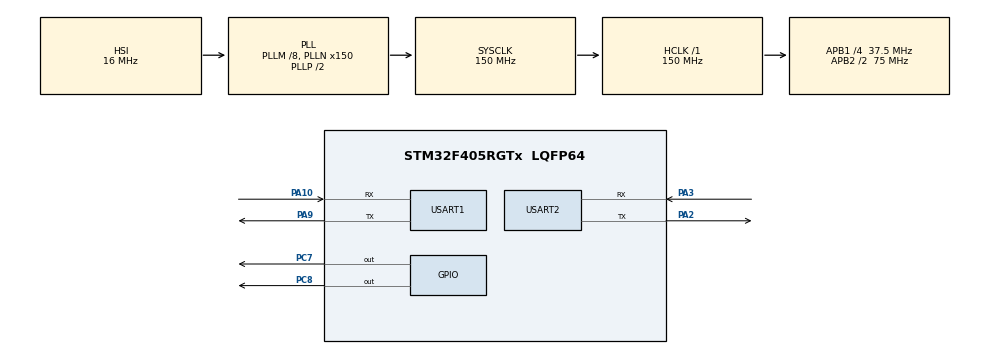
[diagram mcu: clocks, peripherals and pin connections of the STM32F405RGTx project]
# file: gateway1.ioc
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Dma.Request0=USART2_RX
Dma.Request1=USART2_TX
Dma.Request2=USART1_RX
Dma.Request3=USART1_TX
Dma.USART1_RX.2.Direction=DMA_PERIPH_TO_MEMORY
Dma.USART1_RX.2.FIFOMode=DMA_FIFOMODE_DISABLE
Dma.USART1_RX.2.Instance=DMA2_Stream2
Dma.USART1_RX.2.MemDataAlignment=DMA_MDATAALIGN_BYTE
Dma.USART1_RX.2.MemInc=DMA_MINC_ENABLE
Dma.USART1_RX.2.Mode=DMA_CIRCULAR
Dma.USART1_RX.2.PeriphDataAlignment=DMA_PDATAALIGN_BYTE
Dma.USART1_RX.2.PeriphInc=DMA_PINC_DISABLE
Dma.USART1_RX.2.Priority=DMA_PRIORITY_LOW
Dma.USART1_TX.3.Direction=DMA_MEMORY_TO_PERIPH
Dma.USART1_TX.3.FIFOMode=DMA_FIFOMODE_DISABLE
Dma.USART1_TX.3.Instance=DMA2_Stream7
Dma.USART1_TX.3.MemDataAlignment=DMA_MDATAALIGN_BYTE
Dma.USART1_TX.3.MemInc=DMA_MINC_ENABLE
Dma.USART1_TX.3.Mode=DMA_NORMAL
Dma.USART1_TX.3.PeriphDataAlignment=DMA_PDATAALIGN_BYTE
Dma.USART1_TX.3.PeriphInc=DMA_PINC_DISABLE
Dma.USART1_TX.3.Priority=DMA_PRIORITY_LOW
Dma.USART2_RX.0.Direction=DMA_PERIPH_TO_MEMORY
Dma.USART2_RX.0.FIFOMode=DMA_FIFOMODE_DISABLE
Dma.USART2_RX.0.Instance=DMA1_Stream5
Dma.USART2_RX.0.MemDataAlignment=DMA_MDATAALIGN_BYTE
Dma.USART2_RX.0.MemInc=DMA_MINC_ENABLE
Dma.USART2_RX.0.Mode=DMA_CIRCULAR
Dma.USART2_RX.0.PeriphDataAlignment=DMA_PDATAALIGN_BYTE
Dma.USART2_RX.0.PeriphInc=DMA_PINC_DISABLE
Dma.USART2_RX.0.Priority=DMA_PRIORITY_LOW
Dma.USART2_TX.1.Direction=DMA_MEMORY_TO_PERIPH
Dma.USART2_TX.1.FIFOMode=DMA_FIFOMODE_DISABLE
Dma.USART2_TX.1.Instance=DMA1_Stream6
Dma.USART2_TX.1.MemDataAlignment=DMA_MDATAALIGN_BYTE
Dma.USART2_TX.1.MemInc=DMA_MINC_ENABLE
Dma.USART2_TX.1.Mode=DMA_NORMAL
Dma.USART2_TX.1.PeriphDataAlignment=DMA_PDATAALIGN_BYTE
Dma.USART2_TX.1.PeriphInc=DMA_PINC_DISABLE
Dma.USART2_TX.1.Priority=DMA_PRIORITY_LOW
Mcu.Family=STM32F4
Mcu.Name=STM32F405RGTx
Mcu.Package=LQFP64
NVIC.DMA1_Stream5_IRQn=true\:0\:0\:false\:false\:true\:false
NVIC.DMA1_Stream6_IRQn=true\:0\:0\:false\:false\:true\:false
NVIC.DMA2_Stream2_IRQn=true\:0\:0\:false\:false\:true\:false
NVIC.DMA2_Stream7_IRQn=true\:0\:0\:false\:false\:true\:false
NVIC.PriorityGroup=NVIC_PRIORITYGROUP_4
NVIC.USART1_IRQn=true\:0\:0\:false\:false\:true\:true
NVIC.USART2_IRQn=true\:0\:0\:false\:false\:true\:true
PA10.Mode=Asynchronous
PA10.Signal=USART1_RX
PA2.Mode=Asynchronous
PA2.Signal=USART2_TX
PA3.Mode=Asynchronous
PA3.Signal=USART2_RX
PA9.Mode=Asynchronous
PA9.Signal=USART1_TX
PC7.PinState=GPIO_PIN_RESET
PC7.Signal=GPIO_Output
PC8.PinState=GPIO_PIN_RESET
PC8.Signal=GPIO_Output
PH0-OSC_IN.Mode=HSE-External-Clock-Source
PH0-OSC_IN.Signal=RCC_OSC_IN
PH1-OSC_OUT.Mode=HSE-External-Clock-Source
PH1-OSC_OUT.Signal=RCC_OSC_OUT
ProjectManager.HeapSize=0x10000
ProjectManager.StackSize=0x400
ProjectManager.TargetToolchain=EWARM V7
RCC.48MHZClocksFreq_Value=75000000
RCC.AHBFreq_Value=150000000
RCC.APB1CLKDivider=RCC_HCLK_DIV4
RCC.APB1Freq_Value=37500000
RCC.APB1TimFreq_Value=75000000
RCC.APB2CLKDivider=RCC_HCLK_DIV2
RCC.APB2Freq_Value=75000000
RCC.APB2TimFreq_Value=150000000
RCC.CortexFreq_Value=150000000
RCC.HCLKFreq_Value=150000000
RCC.HSE_VALUE=25000000
RCC.HSI_VALUE=16000000
RCC.LSE_VALUE=32768
RCC.PLLM=8
RCC.PLLN=150
RCC.SYSCLKFreq_VALUE=150000000
RCC.SYSCLKSource=RCC_SYSCLKSOURCE_PLLCLK
RCC.VCOOutputFreq_Value=300000000
USART1.VirtualMode=VM_ASYNC
USART2.VirtualMode=VM_ASYNC
board=custom

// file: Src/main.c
/**
  ******************************************************************************
  * @file           : main.c
  * @brief          : Main program body
  ******************************************************************************
  ** This notice applies to any and all portions of this file
  * that are not between comment pairs USER CODE BEGIN and
  * USER CODE END. Other portions of this file, whether
  * inserted by the user or by software development tools
  * are owned by their respective copyright owners.
  *
  * COPYRIGHT(c) 2018 STMicroelectronics
  *
  * Redistribution and use in source and binary forms, with or without modification,
  * are permitted provided that the following conditions are met:
  *   1. Redistributions of source code must retain the above copyright notice,
  *      this list of conditions and the following disclaimer.
  *   2. Redistributions in binary form must reproduce the above copyright notice,
  *      this list of conditions and the following disclaimer in the documentation
  *      and/or other materials provided with the distribution.
  *   3. Neither the name of STMicroelectronics nor the names of its contributors
  *      may be used to endorse or promote products derived from this software
  *      without specific prior written permission.
  *
  * THIS SOFTWARE IS PROVIDED BY THE COPYRIGHT HOLDERS AND CONTRIBUTORS "AS IS"
  * AND ANY EXPRESS OR IMPLIED WARRANTIES, INCLUDING, BUT NOT LIMITED TO, THE
  * IMPLIED WARRANTIES OF MERCHANTABILITY AND FITNESS FOR A PARTICULAR PURPOSE ARE
  * DISCLAIMED. IN NO EVENT SHALL THE COPYRIGHT HOLDER OR CONTRIBUTORS BE LIABLE
  * FOR ANY DIRECT, INDIRECT, INCIDENTAL, SPECIAL, EXEMPLARY, OR CONSEQUENTIAL
  * DAMAGES (INCLUDING, BUT NOT LIMITED TO, PROCUREMENT OF SUBSTITUTE GOODS OR
  * SERVICES; LOSS OF USE, DATA, OR PROFITS; OR BUSINESS INTERRUPTION) HOWEVER
  * CAUSED AND ON ANY THEORY OF LIABILITY, WHETHER IN CONTRACT, STRICT LIABILITY,
  * OR TORT (INCLUDING NEGLIGENCE OR OTHERWISE) ARISING IN ANY WAY OUT OF THE USE
  * OF THIS SOFTWARE, EVEN IF ADVISED OF THE POSSIBILITY OF SUCH DAMAGE.
  *
  ******************************************************************************
  */
#include "main.h"
#include "stm32f4xx_hal.h"

/* USER CODE BEGIN Includes */
#include <string.h>
#include <stdlib.h>
#include <stdbool.h>
#include "debuglog.h"
/* USER CODE END Includes */

UART_HandleTypeDef huart1;
UART_HandleTypeDef huart2;
DMA_HandleTypeDef hdma_usart1_rx;
DMA_HandleTypeDef hdma_usart1_tx;
DMA_HandleTypeDef hdma_usart2_rx;
DMA_HandleTypeDef hdma_usart2_tx;

/* USER CODE BEGIN PV */
/* Private variables ---------------------------------------------------------*/
typedef enum
{
  MQTT_INIT = 0,
  MQTT_RDY,
  MQTT_CPIN,
  MQTT_SMS,
  MQTT_PB,
  MQTT_ATE0 = 5,
  MQTT_ATE0_RSP,
  MQTT_CCID,
  MQTT_CCID_RSP,
  MQTT_START,
  MQTT_START_RSP = 10,
  MQTT_ACCQ,
  MQTT_ACCQ_RSP,
  MQTT_WILLTOPIC,
  MQTT_WILLTOPIC_RSP,
  MQTT_WILLTOPIC_CONTENT = 15,
  MQTT_WILLTOPIC_CONTENT_RSP,
  MQTT_WILLMSG,
  MQTT_WILLMSG_RSP,
  MQTT_WILLMSG_CONTENT,
  MQTT_WILLMSG_CONTENT_RSP = 20,
  MQTT_CONNECT,
  MQTT_CONNECT_RSP,
  MQTT_SUB,
  MQTT_SUB_RSP,
  MQTT_SUB_CONTENT = 25,
  MQTT_SUB_CONTENT_RSP,
  MQTT_PUB_TOPIC,
  MQTT_PUB_TOPIC_RSP,
  MQTT_PUB_TOPIC_CONTENT,
  MQTT_PUB_TOPIC_CONTENT_RSP = 30,
  MQTT_PUB_PAYLOAD,
  MQTT_PUB_PAYLOAD_RSP,
  MQTT_PUB_PAYLOAD_CONTENT,
  MQTT_PUB_PAYLOAD_CONTENT_RSP,
  MQTT_PUB = 35,
  MQTT_OK, // pub ok
}MQTT_PHASE;

typedef enum
{
  MQTT_RCV_INIT = 0,
  MQTT_RCV_SUM,
  MQTT_RCV_TOPIC_LEN,
  MQTT_RCV_TOPIC_CONTENT,
  MQTT_RCV_PAYLOAD_LEN,
  MQTT_RCV_PAYLOAD_CONTENT = 5,
}MQTT_RCV_PHASE;

typedef enum
{
  MQTT_SND_INIT = 0,
  MQTT_SND_TOPIC,
  MQTT_SND_TOPIC_RSP,
  MQTT_SND_TOPIC_CONTENT,
  MQTT_SND_TOPIC_CONTENT_RSP,
  MQTT_SND_PAYLOAD = 5,
  MQTT_SND_PAYLOAD_RSP,
  MQTT_SND_PAYLOAD_CONTENT,
  MQTT_SND_PAYLOAD_CONTENT_RSP,
  MQTT_SND_CMD,
  MQTT_SND_CMD_RSP1 = 10,
  MQTT_SND_CMD_RSP2,
}MQTT_SND_PHASE;

typedef enum
{
  CMD_MOTOR_UP = 1,
  CMD_MOTOR_DOWN = 2,
  CMD_MOTOR_STATUS_GET = 3,
  CMD_BEEP_ON = 4,
  CMD_BEEP_OFF = 5,
  CMD_BEEP_STATUS_GET = 6,
  CMD_ADC_GET = 7,
  CMD_F405_ONLINE = 8,

}CMD_TYPE;

typedef enum
{
  //Normal
  NORMAL_SUCCESS = 101,
  NORMAL_DOWN = 102,
  NORMAL_FORWARD = 103,
  NORMAL_UP = 104,
  NORMAL_BACK = 105,
  NORMAL_BUSY = 106,
  NORMAL_BEEP_OPEN_FAILED = 107,
  NORMAL_BEEP_CLOSE_FAILED = 108,
  NORMAL_BEEP_STATUS_OPEN = 109,
  NORMAL_BEEP_STATUS_CLOSED = 110,

  //child online or offline
  CHILD_ONLINE = 120,
  CHILD_OFFLINE = 121,

  //interupt
  INTERUPT_DOWN = 201,
  INTERUPT_FORWARD = 202,
  INTERUPT_UP = 203,
  INTERUPT_BACK = 204,

  INTERUPT_TIMEOUT = 210,

}RESP_CODE;

typedef union
{
  uint32_t identity;
  uint16_t endpointId;
}U_Resp_Data;

#pragma pack (1)
typedef struct
{
  uint8_t resp_code;
  U_Resp_Data resp_data;
  uint8_t crc;
}T_Resp_Info;
#pragma pack ()

typedef struct
{
  uint32_t identity;
  uint16_t endpointId;
  uint8_t action;
  uint8_t crc;
}T_Control_Cmd;

#define MQTT_SEND_SUCCESS 0
#define MQTT_SEND_BUSY 1
#define MQTT_SEND_INVALID_TOPIC_TYPE 2

#define MQTT_TOPIC_CHILD_ONLINE "AT+CMQTTTOPIC=0,13\r\n"
#define MQTT_TOPIC_CHILD_ONLINE_CONTENT "/child_online\r\n"
#define MQTT_TOPIC_CHILD_OFFLINE "AT+CMQTTTOPIC=0,14\r\n"
#define MQTT_TOPIC_CHILD_OFFLINE_CONTENT "/child_offline\r\n"
#define MQTT_TOPIC_ACTION_RSP "AT+CMQTTTOPIC=0,12\r\n"
#define MQTT_TOPIC_ACTION_RSP_CONTENT "/action_resp\r\n"
#define MQTT_TOPIC_INTERRUPT_RSP "AT+CMQTTTOPIC=0,15\r\n"
#define MQTT_TOPIC_INTERRUPT_RSP_CONTENT "/interrupt_resp\r\n"
typedef enum
{
  MQTT_TOPIC_TYPE_INVALID,
  MQTT_TOPIC_TYPE_CHILD_ONLINE,
  MQTT_TOPIC_TYPE_CHILD_OFFLINE,
  MQTT_TOPIC_TYPE_ACTION_RSP,
  MQTT_TOPIC_TYPE_INTERRUPT_RSP,
}MQTT_TOPIC_TYPE;
uint8_t g_topicType = MQTT_TOPIC_TYPE_INVALID;
#define MQTT_MAX_SEND_PAYLOAD_SIZE 64
uint8_t g_mqttSndPayload[MQTT_MAX_SEND_PAYLOAD_SIZE];
uint32_t g_sndStartTick = 0;

#define DMA_RX_BUFFER_SIZE          64
uint8_t DMA_RX_Buffer[DMA_RX_BUFFER_SIZE];

#define UART_BUFFER_SIZE            256
uint8_t UART_Buffer[UART_BUFFER_SIZE];

#define DMA_TX_BUFFER_SIZE          64
uint8_t DMA_TX_Buffer[DMA_TX_BUFFER_SIZE];

#define DMA2_RX_BUFFER_SIZE          (sizeof(T_Resp_Info))
uint8_t DMA2_RX_Buffer[DMA2_RX_BUFFER_SIZE];

#define UART2_BUFFER_SIZE            1500
uint8_t *UART2_Buffer;

#define DMA2_TX_BUFFER_SIZE          8
uint8_t DMA2_TX_Buffer[DMA2_TX_BUFFER_SIZE];

#define UART2_TX_BUFFER_SIZE          256
uint8_t UART2_TX_Buffer[UART2_TX_BUFFER_SIZE];

#define RET_POS_INVALID 0xFFFFFFFF

uint32_t Uart1_Read = 0;
volatile uint32_t Uart1_Write = 0;

uint32_t Uart2_Read = 0;
volatile uint32_t Uart2_Write = 0;

uint32_t Uart2_Send_Read = 0;
volatile uint32_t Uart2_Send_Write = 0;

uint32_t g_retBegin = RET_POS_INVALID;
uint32_t g_retEnd = RET_POS_INVALID;
volatile uint8_t g_uart1Phase = MQTT_INIT; // init and send
volatile uint32_t g_startTick = 0;
uint8_t g_simCardId[24] = {"WM_"}; // prefix + 20 sim card id

uint32_t g_rcvTopicLen = 0;
uint32_t g_rcvPayloadLen = 0;
uint8_t g_uart1RcvPhase = MQTT_RCV_INIT;

bool g_isMqttSending = false;
volatile uint32_t g_MqttSendTimeOut = 0;

bool g_isF103Sending = false;
volatile uint32_t g_F103SendTimeOut = 0;

DMA_Event_t dma_uart_rx = {DMA_TX_BUFFER_SIZE, 0, 0};

#define ATE0 "ATE0\r\n"
#define CMQTTSTART "AT+CMQTTSTART\r\n"
#define CCID "AT+CICCID\r\n"
#define ACCQ_PREFIX "AT+CMQTTACCQ=0,"
#define WILLTOPIC "AT+CMQTTWILLTOPIC=0,13\r\n"
#define WILLTOPIC_CONTENT "/root_offline\r\n"
#define WILLMSG "AT+CMQTTWILLMSG=0,23,1\r\n"
#define TIMEOUT "AT+CMQTTCNCTTIMEOUT=0,10\r\n"
//#define CONNECT_TEST "AT+CMQTTCONNECT=0,\"tcp://119.119.52.253:1883\",60,1\r\n"
#define CONNECT_PRODUCT "AT+CMQTTCONNECT=0,\"tcp://faye.weixinxk.net:1883\",60,1\r\n"
#define SUB "AT+CMQTTSUB=0,23,1,0\r\n"
#define PUBTOPIC "AT+CMQTTTOPIC=0,12\r\n"
#define PUBTOPIC_CONTENT "/root_online\r\n"
#define PUBPAYLOAD "AT+CMQTTPAYLOAD=0,24\r\n"
#define PUB "AT+CMQTTPUB=0,1,60\r\n"
#define RCVMSG1 "+CMQTTRXSTART: 0,"
#define RCVMSG2 "+CMQTTRXTOPIC: 0,"
#define RCVMSG3 "+CMQTTRXPAYLOAD: 0,"
#define RCVMSG4 "+CMQTTRXEND: 0"

#define SYSTEM_PREFIX_NAME      "WM_"

/* USER CODE END PV */

void SystemClock_Config(void);
static void MX_GPIO_Init(void);
static void MX_DMA_Init(void);
static void MX_USART2_UART_Init(void);
static void MX_USART1_UART_Init(void);

/* USER CODE BEGIN PFP */
/* Private function prototypes -----------------------------------------------*/
static void Anlyz_USART1_Rcv(void);
static void Anlyz_USART1_Rcv2(void);
static void Check_Timeout(void);
uint8_t Send_Mqtt_Msg(uint8_t topicType, uint8_t * payload, uint8_t length);
static void Send_Mqtt_Msg_Continue(void);

uint8_t crc8_chk_value(uint8_t *message, uint8_t len);
int generalJsonResp(T_Resp_Info *resp, uint8_t *topicType, uint8_t *json_resp);
void parser_mqtt_msg(void);
void HAL_UART_Transmit_To_103(void);

/* USER CODE END PFP */

int main(void)
{

  /* MCU Configuration----------------------------------------------------------*/

  /* Reset of all peripherals, Initializes the Flash interface and the Systick. */
  HAL_Init();

  /* Configure the system clock */
  SystemClock_Config();

  /* Initialize all configured peripherals */
  MX_GPIO_Init();
  MX_DMA_Init();
  MX_USART2_UART_Init();
  MX_USART1_UART_Init();
  /* USER CODE BEGIN 2 */
 //   HAL_Delay(5000);
  HAL_GPIO_WritePin(GPIOC, GPIO_PIN_8, GPIO_PIN_RESET); // reset SIM7600CE
  HAL_Delay(250);
  HAL_GPIO_WritePin(GPIOC, GPIO_PIN_8, GPIO_PIN_SET);
  HAL_Delay(250);
  HAL_GPIO_WritePin(GPIOC, GPIO_PIN_8, GPIO_PIN_RESET);

  __HAL_UART_ENABLE_IT(&huart1, UART_IT_IDLE); // enable idle line interrupt
//  __HAL_UART_ENABLE_IT(&huart2, UART_IT_IDLE); // enable idle line interrupt
  __HAL_UART_CLEAR_IDLEFLAG(&huart1);
//  __HAL_UART_CLEAR_IDLEFLAG(&huart2);

  //__HAL_DMA_ENABLE_IT (&hdma_usart1_rx, DMA_IT_TC);  // enable DMA Tx cplt interrupt
  //__HAL_DMA_DISABLE_IT(&hdma_usart1_rx, DMA_IT_HT); // disable uart half tx interrupt
  //__HAL_DMA_ENABLE_IT (&hdma_usart1_tx, DMA_IT_TC);  // enable DMA Tx cplt interrupt
  //__HAL_DMA_DISABLE_IT(&hdma_usart1_tx, DMA_IT_HT); // disable uart half tx interrupt
  HAL_UART_Receive_DMA(&huart1, DMA_RX_Buffer, DMA_RX_BUFFER_SIZE);// Æô¶¯DMA½ÓÊÕ
  HAL_UART_Receive_DMA(&huart2, DMA2_RX_Buffer, DMA2_RX_BUFFER_SIZE);// Æô¶¯DMA½ÓÊÕ

  UART2_Buffer = (uint8_t *)malloc(UART2_BUFFER_SIZE);
  if(UART2_Buffer == NULL)
  {
    Msg_Error("UART2_Buffer malloc failed!\r\n");
  }

  /* USER CODE END 2 */

  /* Infinite loop */
  /* USER CODE BEGIN WHILE */
  g_startTick = HAL_GetTick();

#if 1
  while (1)
  {
    Check_Timeout();
    /**
       * Loop data back to UART data register
       */
    //uint32_t total_count = 0; // total count
    int32_t sub_count = 0; // sub count of one result
    int32_t end_count = 0; // result end 0x0d count
    uint32_t tmpWrite = Uart1_Write;
    while (Uart1_Read != tmpWrite)
    {
      if (MQTT_ATE0 == g_uart1Phase                 /* receive after send ATE0 */
          || MQTT_CCID == g_uart1Phase              /* receive after send CCID */
          || MQTT_START == g_uart1Phase             /* receive after send CMQTTSTART */
          || MQTT_WILLTOPIC == g_uart1Phase         /* receive after send WILLTOPIC */
          || MQTT_WILLMSG == g_uart1Phase           /* receive after send WILLMSG */
          || MQTT_CONNECT == g_uart1Phase           /* receive after send CONNECT */
          || MQTT_SUB == g_uart1Phase               /* receive after send SUB */
          || MQTT_SUB_CONTENT == g_uart1Phase       /* receive after send SUB_CONTENT */
          || MQTT_PUB_TOPIC == g_uart1Phase         /* receive after send PUB_TOPIC */
          || MQTT_PUB_PAYLOAD == g_uart1Phase       /* receive after send PUB_PAYLOAD */
          || MQTT_PUB == g_uart1Phase               /* receive after send PUB */)
      {

        if (RET_POS_INVALID == g_retBegin)
        {
          g_retBegin = Uart1_Read;
        }
        g_retEnd = tmpWrite;

        Anlyz_USART1_Rcv();
        Uart1_Read = tmpWrite;
        break;
      }

      if (RET_POS_INVALID == g_retBegin)
      {
        if ((0 == sub_count && 0x0d != UART_Buffer[Uart1_Read]) || (1 == sub_count && 0x0a != UART_Buffer[Uart1_Read]))
        {
          //error
          Msg_Error("Error!111 g_uart1Phase = %d\r\n", g_uart1Phase);
          NVIC_SystemReset();
        }
        if (sub_count == 2)
        {
          g_retBegin = Uart1_Read;
        }
      }
      else
      {
        if (0x0d == UART_Buffer[Uart1_Read])
        {
          g_retEnd = Uart1_Read;
          end_count = sub_count;
        }
        if (0 != end_count && sub_count == end_count + 1)
        {
          if (0x0a == UART_Buffer[Uart1_Read])
          {
            // one result analysis suc.

            Anlyz_USART1_Rcv();
            g_retBegin = RET_POS_INVALID;
            g_retEnd = RET_POS_INVALID;
            sub_count = -1;
            end_count = 0;
          }
          else
          {
            //error
            Msg_Error("Error!222\r\n");
            NVIC_SystemReset();
          }
        }
      }
      Uart1_Read++;

      if (Uart1_Read == UART_BUFFER_SIZE)
      {
        /* Check buffer overflow */
        Uart1_Read = 0;
      }

      sub_count ++;
      //total_count ++;
    }
    if (MQTT_OK <= g_uart1Phase)
    {
      break;
    }
  }

#endif
  /* USER CODE END WHILE */

  /* USER CODE BEGIN 3 */

  Msg_Info("ready\r\n");
  g_uart1Phase = MQTT_SND_INIT;
  g_retBegin = RET_POS_INVALID;
  g_retEnd = RET_POS_INVALID;

  // T_Control_Cmd cmd;

  // cmd.identity = 0;
  // cmd.endpointId = 0;
  // cmd.action = CMD_F405_ONLINE;
  // cmd.crc = crc8_chk_value((uint8_t *)(&cmd), 7);

  // memcpy(DMA2_TX_Buffer, (uint8_t *)(&cmd), sizeof(T_Control_Cmd));
  // HAL_UART_Transmit_DMA(&huart2, DMA2_TX_Buffer, sizeof(T_Control_Cmd));

  while (1)
  {

    if (0 != g_sndStartTick)
    {
      if (HAL_GetTick() - g_sndStartTick > 10000)
      {
        // send timeout
        Msg_Error("send timeout\r\n");
        NVIC_SystemReset();
      }
    }

    uint32_t tmpWrite = Uart1_Write;
    while (Uart1_Read != tmpWrite)
    {
      if (RET_POS_INVALID == g_retBegin)
      {
        if (0x0d == UART_Buffer[Uart1_Read] || 0x0a == UART_Buffer[Uart1_Read])
        {
          goto label;
        }
        if ('>' ==  UART_Buffer[Uart1_Read]) //special handle
        {
          if (MQTT_SND_TOPIC == g_uart1Phase)
          {
            g_uart1Phase = MQTT_SND_TOPIC_RSP;
          }
          else if (MQTT_SND_PAYLOAD == g_uart1Phase)
          {
            g_uart1Phase = MQTT_SND_PAYLOAD_RSP;
          }
          Send_Mqtt_Msg_Continue();
          goto label;
        }
        g_retBegin = Uart1_Read;
      }
      else
      {
        if (0x0d == UART_Buffer[Uart1_Read])
        {
          g_retEnd = Uart1_Read;
          Anlyz_USART1_Rcv2();
          //sub_count = 0;
          g_retBegin = RET_POS_INVALID;
          g_retEnd = RET_POS_INVALID;
          //continue;
        }
      }
label:
      Uart1_Read++;

      if (Uart1_Read == UART_BUFFER_SIZE)
      {
        /* Check buffer overflow */
        Uart1_Read = 0;
      }

      //sub_count ++;
      //total_count ++;
    }

    //test

    //parser data from CPU2
    parser_mqtt_msg();

    //send data to F103
    HAL_UART_Transmit_To_103();

  }
  /* USER CODE END 3 */

}

void SystemClock_Config(void)
{

  RCC_OscInitTypeDef RCC_OscInitStruct;
  RCC_ClkInitTypeDef RCC_ClkInitStruct;

    /**Configure the main internal regulator output voltage
    */
  __HAL_RCC_PWR_CLK_ENABLE();

  __HAL_PWR_VOLTAGESCALING_CONFIG(PWR_REGULATOR_VOLTAGE_SCALE1);

    /**Initializes the CPU, AHB and APB busses clocks
    */
  RCC_OscInitStruct.OscillatorType = RCC_OSCILLATORTYPE_HSI;
  RCC_OscInitStruct.HSIState = RCC_HSI_ON;
  RCC_OscInitStruct.HSICalibrationValue = 16;
  RCC_OscInitStruct.PLL.PLLState = RCC_PLL_ON;
  RCC_OscInitStruct.PLL.PLLSource = RCC_PLLSOURCE_HSI;
  RCC_OscInitStruct.PLL.PLLM = 8;
  RCC_OscInitStruct.PLL.PLLN = 150;
  RCC_OscInitStruct.PLL.PLLP = RCC_PLLP_DIV2;
  RCC_OscInitStruct.PLL.PLLQ = 4;
  if (HAL_RCC_OscConfig(&RCC_OscInitStruct) != HAL_OK)
  {
    _Error_Handler(__FILE__, __LINE__);
  }

    /**Initializes the CPU, AHB and APB busses clocks
    */
  RCC_ClkInitStruct.ClockType = RCC_CLOCKTYPE_HCLK|RCC_CLOCKTYPE_SYSCLK
                              |RCC_CLOCKTYPE_PCLK1|RCC_CLOCKTYPE_PCLK2;
  RCC_ClkInitStruct.SYSCLKSource = RCC_SYSCLKSOURCE_PLLCLK;
  RCC_ClkInitStruct.AHBCLKDivider = RCC_SYSCLK_DIV1;
  RCC_ClkInitStruct.APB1CLKDivider = RCC_HCLK_DIV4;
  RCC_ClkInitStruct.APB2CLKDivider = RCC_HCLK_DIV2;

  if (HAL_RCC_ClockConfig(&RCC_ClkInitStruct, FLASH_LATENCY_4) != HAL_OK)
  {
    _Error_Handler(__FILE__, __LINE__);
  }

    /**Configure the Systick interrupt time
    */
  HAL_SYSTICK_Config(HAL_RCC_GetHCLKFreq()/1000);

    /**Configure the Systick
    */
  HAL_SYSTICK_CLKSourceConfig(SYSTICK_CLKSOURCE_HCLK);

  /* SysTick_IRQn interrupt configuration */
  HAL_NVIC_SetPriority(SysTick_IRQn, 0, 0);
}

/* USART1 init function */
static void MX_USART1_UART_Init(void)
{

  huart1.Instance = USART1;
  huart1.Init.BaudRate = 115200;
  huart1.Init.WordLength = UART_WORDLENGTH_8B;
  huart1.Init.StopBits = UART_STOPBITS_1;
  huart1.Init.Parity = UART_PARITY_NONE;
  huart1.Init.Mode = UART_MODE_TX_RX;
  huart1.Init.HwFlowCtl = UART_HWCONTROL_NONE;
  huart1.Init.OverSampling = UART_OVERSAMPLING_16;
  if (HAL_UART_Init(&huart1) != HAL_OK)
  {
    _Error_Handler(__FILE__, __LINE__);
  }

}

/* USART2 init function */
static void MX_USART2_UART_Init(void)
{

  huart2.Instance = USART2;
  huart2.Init.BaudRate = 115200;
  huart2.Init.WordLength = UART_WORDLENGTH_8B;
  huart2.Init.StopBits = UART_STOPBITS_1;
  huart2.Init.Parity = UART_PARITY_NONE;
  huart2.Init.Mode = UART_MODE_TX_RX;
  huart2.Init.HwFlowCtl = UART_HWCONTROL_NONE;
  huart2.Init.OverSampling = UART_OVERSAMPLING_16;
  if (HAL_UART_Init(&huart2) != HAL_OK)
  {
    _Error_Handler(__FILE__, __LINE__);
  }

}

static void MX_DMA_Init(void)
{
  /* DMA controller clock enable */
  __HAL_RCC_DMA1_CLK_ENABLE();
  __HAL_RCC_DMA2_CLK_ENABLE();

  /* DMA interrupt init */
  /* DMA1_Stream5_IRQn interrupt configuration */
  HAL_NVIC_SetPriority(DMA1_Stream5_IRQn, 0, 0);
  HAL_NVIC_EnableIRQ(DMA1_Stream5_IRQn);
  /* DMA1_Stream6_IRQn interrupt configuration */
  HAL_NVIC_SetPriority(DMA1_Stream6_IRQn, 0, 0);
  HAL_NVIC_EnableIRQ(DMA1_Stream6_IRQn);
  /* DMA2_Stream2_IRQn interrupt configuration */
  HAL_NVIC_SetPriority(DMA2_Stream2_IRQn, 0, 0);
  HAL_NVIC_EnableIRQ(DMA2_Stream2_IRQn);
  /* DMA2_Stream7_IRQn interrupt configuration */
  HAL_NVIC_SetPriority(DMA2_Stream7_IRQn, 0, 0);
  HAL_NVIC_EnableIRQ(DMA2_Stream7_IRQn);

}

/** Configure pins as
        * Analog
        * Input
        * Output
        * EVENT_OUT
        * EXTI
*/
static void MX_GPIO_Init(void)
{

  GPIO_InitTypeDef GPIO_InitStruct;

  /* GPIO Ports Clock Enable */
  __HAL_RCC_GPIOH_CLK_ENABLE();
  __HAL_RCC_GPIOA_CLK_ENABLE();
  __HAL_RCC_GPIOC_CLK_ENABLE();

  /*Configure GPIO pin Output Level */
  HAL_GPIO_WritePin(GPIOC, GPIO_PIN_7|GPIO_PIN_8, GPIO_PIN_RESET);

  /*Configure GPIO pins : PC7 PC8 */
  GPIO_InitStruct.Pin = GPIO_PIN_7|GPIO_PIN_8;
  GPIO_InitStruct.Mode = GPIO_MODE_OUTPUT_PP;
  GPIO_InitStruct.Pull = GPIO_NOPULL;
  GPIO_InitStruct.Speed = GPIO_SPEED_FREQ_LOW;
  HAL_GPIO_Init(GPIOC, &GPIO_InitStruct);

}

/* USER CODE BEGIN 4 */
int generalJsonResp(T_Resp_Info *resp, uint8_t *topicType, uint8_t *json_resp)
{
  if(NULL == resp || NULL == json_resp)
  {
    return false;
  }

#define TYPE_NORMAL 0
#define TYPE_ONLINE 1
#define TYPE_OFFLINE 2
#define TYPE_INTERUPT 3
  uint8_t resp_code = 0;
  uint8_t resp_type = TYPE_NORMAL;//0->normal,1->online, 2->offline,3->interupt
  switch(resp->resp_code)
  {
    case NORMAL_SUCCESS:
      resp_code = 0;
      resp_type = TYPE_NORMAL;
      break;
    case NORMAL_DOWN:
      resp_code = 1;
      resp_type = TYPE_NORMAL;
      break;
    case NORMAL_FORWARD:
      resp_code = 2;
      resp_type = TYPE_NORMAL;
      break;
    case NORMAL_UP:
      resp_code = 3;
      resp_type = TYPE_NORMAL;
      break;
    case NORMAL_BACK:
      resp_code = 4;
      resp_type = TYPE_NORMAL;
      break;
    case NORMAL_BUSY:
      resp_code = 9;
      resp_type = TYPE_NORMAL;
      break;
    case NORMAL_BEEP_OPEN_FAILED:
      resp_code = 1;
      resp_type = TYPE_NORMAL;
      break;
    case NORMAL_BEEP_CLOSE_FAILED:
      resp_code = 1;
      resp_type = TYPE_NORMAL;
      break;
    case NORMAL_BEEP_STATUS_OPEN:
      resp_code = 1;
      resp_type = TYPE_NORMAL;

      break;
    case NORMAL_BEEP_STATUS_CLOSED:
      resp_code = 0;
      resp_type = TYPE_NORMAL;
      break;
    case CHILD_ONLINE:
      resp_type = TYPE_ONLINE;
      break;
    case CHILD_OFFLINE:
      resp_type = TYPE_OFFLINE;
      break;
    case INTERUPT_DOWN:
      resp_code = 1;
      resp_type = TYPE_INTERUPT;
      break;
    case INTERUPT_FORWARD:
      resp_code = 2;
      resp_type = TYPE_INTERUPT;
      break;
    case INTERUPT_UP:
      resp_code = 3;
      resp_type = TYPE_INTERUPT;
      break;
    case INTERUPT_BACK:
      resp_code = 4;
      resp_type = TYPE_INTERUPT;
      break;
    case INTERUPT_TIMEOUT:
      resp_code = 9;
      resp_type = TYPE_NORMAL;
      break;

    default:
      if(resp->resp_code<=100)
      {
        resp_code = resp->resp_code;
        resp_type = TYPE_NORMAL;
      }
      else
      {
        Msg_Warn("generalJsonResp error! resp->resp_code = %d\n", resp->resp_code);
        return false;
      }
 }

  switch(resp_type)
  {
    case TYPE_NORMAL:
      sprintf((char *)json_resp, "{\n\"action_resp\":%d,\n\"identify_resp\":%d\n}", resp_code, resp->resp_data.identity);
      *topicType = MQTT_TOPIC_TYPE_ACTION_RSP;
      break;
    case TYPE_ONLINE:
      sprintf((char *)json_resp, "%s%d", SYSTEM_PREFIX_NAME, resp->resp_data.endpointId);
      *topicType = MQTT_TOPIC_TYPE_CHILD_ONLINE;
      break;
    case TYPE_OFFLINE:
      sprintf((char *)json_resp, "%s%d", SYSTEM_PREFIX_NAME, resp->resp_data.endpointId);
      *topicType = MQTT_TOPIC_TYPE_CHILD_OFFLINE;
      break;
    case TYPE_INTERUPT:
      sprintf((char *)json_resp, "{\n\"macaddr\":%d,\n\"status\":%d\n}", resp->resp_data.endpointId, resp_code);
      *topicType = MQTT_TOPIC_TYPE_INTERRUPT_RSP;
      break;
    default:
      return false;

  }

  return true;

}

uint8_t crc8_chk_value(uint8_t *message, uint8_t len)
{
  uint8_t crc;
  uint8_t i;
  crc = 0;
  while(len--)
  {
    crc ^= *message++;
    for(i = 0;i < 8;i++)
    {
      if(crc & 0x01)
      {
        crc = (crc >> 1) ^ 0x8c;
      }
      else crc >>= 1;
    }
  }

  return crc;
}

void HAL_UART1_RxCpltCallback(UART_HandleTypeDef *huart)
{

  uint32_t start, length;

  uint32_t currCNDTR = __HAL_DMA_GET_COUNTER(huart->hdmarx);

  /* Ignore IDLE Timeout when the received characters exactly filled up the DMA buffer and DMA Rx Complete IT is generated, but there is no new character during timeout */
  if(dma_uart_rx.flag && currCNDTR == DMA_RX_BUFFER_SIZE)
  {
      dma_uart_rx.flag = 0;
      return;
  }

  /* Determine start position in DMA buffer based on previous CNDTR value */
  start = (dma_uart_rx.prevCNDTR < DMA_RX_BUFFER_SIZE) ? (DMA_RX_BUFFER_SIZE - dma_uart_rx.prevCNDTR) : 0;
  //start = DMA_RX_BUFFER_SIZE - dma_uart_rx.prevCNDTR;

  if(dma_uart_rx.flag)    /* Timeout event */
  {
      /* Determine new data length based on previous DMA_CNDTR value:
       *  If previous CNDTR is less than DMA buffer size: there is old data in DMA buffer (from previous timeout) that has to be ignored.
       *  If CNDTR == DMA buffer size: entire buffer content is new and has to be processed.
      */

      length = (dma_uart_rx.prevCNDTR < DMA_RX_BUFFER_SIZE) ? (dma_uart_rx.prevCNDTR - currCNDTR) : (DMA_RX_BUFFER_SIZE - currCNDTR);
      //length = dma_uart_rx.prevCNDTR - currCNDTR;
      dma_uart_rx.prevCNDTR = currCNDTR;
      dma_uart_rx.flag = 0;
  }
  else                /* DMA Rx Complete event */
  {
      length = DMA_RX_BUFFER_SIZE - start;
      dma_uart_rx.prevCNDTR = DMA_RX_BUFFER_SIZE;
  }

  uint32_t tocopy;
  uint8_t* ptr;

  tocopy = UART_BUFFER_SIZE - Uart1_Write;      /* Get number of bytes we can copy to the end of buffer */

  /* Check how many bytes to copy */
  if (tocopy > length)
  {
    tocopy = length;
  }

  /* Uart1_Write received data for UART main buffer for manipulation later */
  ptr = DMA_RX_Buffer+start;
  memcpy(&UART_Buffer[Uart1_Write], ptr, tocopy);   /* Copy first part */

  /* Correct values for remaining data */
  Uart1_Write += tocopy;
  length -= tocopy;
  ptr += tocopy;

  /* If still data to write for beginning of buffer */
  if (length)
  {
    memcpy(&UART_Buffer[0], ptr, length);      /* Don't care if we override Uart1_Read pointer now */
    Uart1_Write = length;
  }

  if(UART_BUFFER_SIZE == Uart1_Write)
  {
    Uart1_Write = 0;
  }
}

void HAL_UART2_RxCpltCallback(UART_HandleTypeDef *huart)
{
  memcpy(&UART2_Buffer[Uart2_Write], DMA2_RX_Buffer, DMA2_RX_BUFFER_SIZE);

  Uart2_Write += DMA2_RX_BUFFER_SIZE;

  if(Uart2_Write == UART2_BUFFER_SIZE)
  {
    Uart2_Write = 0;
  }

}

void HAL_UART_RxCpltCallback(UART_HandleTypeDef *huart)
{
  if(huart == &huart1)
  {
    HAL_UART1_RxCpltCallback(huart);
  }
  else if(huart == &huart2)
  {
    HAL_UART2_RxCpltCallback(huart);
  }

  return;
}

void HAL_UART1_TxCpltCallback(UART_HandleTypeDef *huart)
{
  g_uart1Phase++;
  g_startTick = HAL_GetTick();
}

void HAL_UART2_TxCpltCallback(UART_HandleTypeDef *huart)
{
    g_isF103Sending = false;
}

void HAL_UART_TxCpltCallback(UART_HandleTypeDef *huart)
{
  if(huart == &huart1)
  {
    HAL_UART1_TxCpltCallback(huart);
  }
  else if(huart == &huart2)
  {
    HAL_UART2_TxCpltCallback(huart);
  }

  return;
}

static void Anlyz_USART1_Rcv(void)
{
  uint8_t * begin = NULL;
  uint32_t length = 0;
  bool flag = false;
  if (g_retBegin < g_retEnd)
  {
    begin = UART_Buffer + g_retBegin;
    length = g_retEnd - g_retBegin;
  }
  else
  {
    if ((g_retBegin > g_retEnd))
    {
      length = UART_BUFFER_SIZE - g_retBegin + g_retEnd;
    }
    else
    {
      length = UART_BUFFER_SIZE;
    }
    flag = true;
  }

  if (MQTT_ATE0 == g_uart1Phase && 11 != length
      || MQTT_CCID == g_uart1Phase && 38 != length
      || MQTT_START == g_uart1Phase && 24 != length
      || MQTT_ACCQ == g_uart1Phase && 2 != length
      || MQTT_WILLTOPIC == g_uart1Phase && 3 != length
      || MQTT_WILLTOPIC_CONTENT == g_uart1Phase && 2 != length
      || MQTT_WILLMSG == g_uart1Phase && 3 != length
      || MQTT_WILLMSG_CONTENT == g_uart1Phase && 2 != length
      || MQTT_CONNECT == g_uart1Phase && 28 !=length
      || MQTT_SUB == g_uart1Phase && 3 != length
      || MQTT_SUB_CONTENT == g_uart1Phase && 24 != length
      || MQTT_PUB_TOPIC == g_uart1Phase && 3 != length
      || MQTT_PUB_TOPIC_CONTENT == g_uart1Phase && 2 != length
      || MQTT_PUB_PAYLOAD == g_uart1Phase && 3 != length
      || MQTT_PUB_PAYLOAD_CONTENT == g_uart1Phase && 2 != length
      || MQTT_PUB == g_uart1Phase && 24 != length)
  {
    return ;
  }

  if (true == flag)
  {
    begin = (uint8_t *)malloc(length);
    if (NULL == begin)
    {
      Msg_Error("malloc Error 1\r\n");
      NVIC_SystemReset();
    }
    memcpy(begin, UART_Buffer + g_retBegin, UART_BUFFER_SIZE - g_retBegin);
    memcpy(begin + UART_BUFFER_SIZE - g_retBegin, UART_Buffer, g_retEnd);
  }

  char * expRst = NULL;
  uint32_t delayTime = 0;
  memset(DMA_TX_Buffer, 0, sizeof(DMA_TX_Buffer));
  switch(g_uart1Phase)
  {
    case MQTT_INIT:
      expRst = "RDY";
      break;
    case MQTT_RDY:
      expRst = "+CPIN: READY";
      break;
    case MQTT_CPIN:
      expRst = "SMS DONE";
      break;
    case MQTT_SMS:
      expRst = "PB DONE";
      delayTime = 100;
      strcpy((char *)DMA_TX_Buffer, ATE0);//MQTT_ATE0
      //init suc, send "ATE0"
      break;
    case MQTT_ATE0:
      expRst = "ATE0\r\r\nOK\r\n";
      delayTime = 100;
      strcpy((char *)DMA_TX_Buffer, CCID);//MQTT_CCID
      //init suc, send "CCID"
      break;
    case MQTT_CCID:
      if (0 != strncmp((char *)begin, "\r\n+ICCID: ", 10)
          || 0 != strncmp((char *)(begin + 30), "\r\n\r\nOK\r\n", 8))
      {
        Msg_Info("%d POK\r\n", MQTT_CCID);
        for (uint32_t i = 0; i < length; i ++)
        {
          Msg_Info("%02X", begin[i]);
        }
        Msg_Info("\r\n");
        NVIC_SystemReset();
        return;
      }

      memcpy(g_simCardId + 3, begin + 10, 20);

      delayTime = 1000;
      strcpy((char *)DMA_TX_Buffer, CMQTTSTART);//MQTT_START
      //init suc, send "CMQTTSTART"
      break;
    case MQTT_START:
      expRst = "\r\nOK\r\n\r\n+CMQTTSTART: 0\r\n";
      delayTime = 100;
      sprintf((char *)DMA_TX_Buffer, "%s\"%s\"\r\n", ACCQ_PREFIX, g_simCardId);
      //init suc, send "CMQTTACCQ"
      break;
    case MQTT_ACCQ:
      expRst = "OK";
      delayTime = 100;
      strcpy((char *)DMA_TX_Buffer, WILLTOPIC);//MQTT_WILLTOPIC
      //init suc, send "WILLTOPIC"
      break;
    case MQTT_WILLTOPIC:
      expRst = "\r\n>";
      delayTime = 100;
      strcpy((char *)DMA_TX_Buffer, WILLTOPIC_CONTENT);//MQTT_WILLTOPIC_CONTENT
      //init suc, send "WILLTOPIC_CONTENT"
      break;
    case MQTT_WILLTOPIC_CONTENT:
      expRst = "OK";
      delayTime = 100;
      strcpy((char *)DMA_TX_Buffer, WILLMSG);//MQTT_WILLMSG
      //init suc, send "WILLMSG"
      break;
    case MQTT_WILLMSG:
      expRst = "\r\n>";
      delayTime = 100;
      sprintf((char *)DMA_TX_Buffer, "%s\r\n", g_simCardId);//MQTT_WILLMSG_CONTENT
      //init suc, send "WILLMSG_CONTENT"
      break;
    case MQTT_WILLMSG_CONTENT:
      expRst = "OK";
      delayTime = 100;
      strcpy((char *)DMA_TX_Buffer, CONNECT_PRODUCT);//MQTT_CONNECT
      break;
    case MQTT_CONNECT:
      expRst = "\r\nOK\r\n\r\n+CMQTTCONNECT: 0,0\r\n";
      delayTime = 100;
      strcpy((char *)DMA_TX_Buffer, SUB);//MQTT_SUB
      break;
    case MQTT_SUB:
      expRst = "\r\n>";
      delayTime = 100;
      sprintf((char *)DMA_TX_Buffer, "%s\r\n", g_simCardId);//MQTT_SUB_CONTENT
      break;
    case MQTT_SUB_CONTENT:
      expRst = "\r\nOK\r\n\r\n+CMQTTSUB: 0,0\r\n";
      delayTime = 100;
      strcpy((char *)DMA_TX_Buffer, PUBTOPIC);//MQTT_PUB_TOPIC
      break;
    case MQTT_PUB_TOPIC:
      expRst = "\r\n>";
      delayTime = 100;
      strcpy((char *)DMA_TX_Buffer, PUBTOPIC_CONTENT);//MQTT_PUB_TOPIC_CONTENT
      break;
    case MQTT_PUB_TOPIC_CONTENT:
      expRst = "OK";
      delayTime = 100;
      strcpy((char *)DMA_TX_Buffer, PUBPAYLOAD);//MQTT_PUB_PAYLOAD
      break;
    case MQTT_PUB_PAYLOAD:
      expRst = "\r\n>";
      delayTime = 100;
      sprintf((char *)DMA_TX_Buffer, "%s\r\n", g_simCardId);//MQTT_PUB_PAYLOAD_CONTENT
      break;
    case MQTT_PUB_PAYLOAD_CONTENT:
      expRst = "OK";
      delayTime = 100;
      strcpy((char *)DMA_TX_Buffer, PUB);//MQTT_PUB
      break;
    case MQTT_PUB:
      expRst = "\r\nOK\r\n\r\n+CMQTTPUB: 0,0\r\n";
    default:
      break;
  }

  if (NULL != expRst)
  {
    if (0 != strncmp(expRst, (char *)begin, length))
    {
      Msg_Error("%d POK\r\n", g_uart1Phase);
      for (uint32_t i = 0; i < length; i ++)
      {
        Msg_Error("%02X", begin[i]);
      }
      Msg_Error("\r\n");
      NVIC_SystemReset();
      return;
    }
  }

  if (true == flag && NULL != begin)
  {
    free(begin);
    begin = NULL;
  }

  g_uart1Phase ++;
  Msg_Info("%d ok\r\n", g_uart1Phase);
  g_startTick = HAL_GetTick();

  g_retBegin = RET_POS_INVALID;
  g_retEnd = RET_POS_INVALID;

  if (0 != delayTime)
  {
    HAL_Delay(delayTime);
    HAL_UART_Transmit_DMA(&huart1, DMA_TX_Buffer, strlen((char *)DMA_TX_Buffer));
  }
}

bool generalCmd(uint8_t *jsonStr)
{

  uint8_t id[6];
  uint8_t action[2];
  uint8_t identify[11];
  uint8_t *pTemp = (uint8_t *)strstr((char *)jsonStr, "\"mac\"");
  int i = 0;
  if(NULL == pTemp)
  {
    return false;
  }

  //parser mac
  pTemp = (uint8_t *)strchr((char *)pTemp, ':');
  if(NULL == pTemp)
  {
    return false;
  }

  while(*pTemp>'9' || *pTemp<'0')
  {
    pTemp++;
  }

  while(*pTemp<='9' && *pTemp>='0')
  {
    id[i] = *pTemp;
    pTemp++;
    i++;
  }

  id[i] = '\0';

  //parser action
  i = 0;
  pTemp = (uint8_t *)strchr((char *)pTemp, ':');
  if(NULL == pTemp)
  {
    return false;
  }

  while(*pTemp>'9' || *pTemp<'0')
  {
    pTemp++;
  }

  while(*pTemp<='9' && *pTemp>='0')
  {
    action[i] = *pTemp;
    pTemp++;
    i++;
  }
  action[i] = '\0';

 //parser identify
  i = 0;
  pTemp = (uint8_t *)strchr((char *)pTemp, ':');
  if(NULL == pTemp)
  {
    return false;
  }

  while(*pTemp>'9' || *pTemp<'0')
  {
    pTemp++;
  }

  while(*pTemp<='9' && *pTemp>='0')
  {
    identify[i] = *pTemp;
    pTemp++;
    i++;
  }
  identify[i] = '\0';

  T_Control_Cmd cmd;

  memset(&cmd, 0, sizeof(T_Control_Cmd));

  cmd.endpointId = atoi((char *)id);
  cmd.action = atoi((char *)action);
  cmd.identity = atoi((char *)identify);

  cmd.crc = crc8_chk_value((uint8_t *)(&cmd), 7);

  memcpy(UART2_TX_Buffer+Uart2_Send_Write, &cmd, sizeof(T_Control_Cmd));

  Uart2_Send_Write += sizeof(T_Control_Cmd);
  if(Uart2_Send_Write == UART2_TX_BUFFER_SIZE)
  {
    Uart2_Send_Write = 0;
  }

  return true;
}

void HAL_UART_Transmit_To_103(void)
{
  if(HAL_GetTick() - g_F103SendTimeOut > 1000)
  {
    g_isF103Sending = false;
  }

  if(g_isF103Sending)
  {
    return;
  }

  uint32_t tmpWrite = Uart2_Send_Write;
  if ((Uart2_Send_Read != tmpWrite) && 0 == tmpWrite%sizeof(T_Control_Cmd))
  {

    while((&huart2)->gState != HAL_UART_STATE_READY);
    memcpy(DMA2_TX_Buffer, UART2_TX_Buffer+Uart2_Send_Read, sizeof(T_Control_Cmd));
    HAL_UART_Transmit_DMA(&huart2, DMA2_TX_Buffer, sizeof(T_Control_Cmd));

    g_F103SendTimeOut = HAL_GetTick();
    g_isF103Sending = true;

    Uart2_Send_Read += sizeof(T_Control_Cmd);

    if (Uart2_Send_Read == UART2_TX_BUFFER_SIZE)
    {
      Uart2_Send_Read = 0;
    }
  }

};

static void Anlyz_USART1_Rcv2(void)
{
  uint8_t * begin = NULL;
  uint16_t length = 0;
  bool flag = false;
  if (g_retBegin < g_retEnd)
  {
    begin = UART_Buffer + g_retBegin;
    length = g_retEnd - g_retBegin;
  }
  else
  {
    if ((g_retBegin > g_retEnd))
    {
      length = UART_BUFFER_SIZE - g_retBegin + g_retEnd;
    }
    else
    {
      length = UART_BUFFER_SIZE;
    }
    flag = true;
  }
  if (true == flag)
  {
    begin = (uint8_t *)malloc(length + 1);
    if (NULL == begin)
    {
      Msg_Error("malloc Error 2\r\n");
      NVIC_SystemReset();
    }
    memcpy(begin, UART_Buffer + g_retBegin, UART_BUFFER_SIZE - g_retBegin);
    memcpy(begin + UART_BUFFER_SIZE - g_retBegin, UART_Buffer, g_retEnd);
    begin[length] = 0;
  }
  begin[length] = 0;

  if (2 == length && 0 == strncmp((char *)begin, "OK", 2))
  {
    if (MQTT_SND_TOPIC_CONTENT == g_uart1Phase)
    {
      g_uart1Phase = MQTT_SND_TOPIC_CONTENT_RSP;
    }
    else if (MQTT_SND_PAYLOAD_CONTENT == g_uart1Phase)
    {
      g_uart1Phase = MQTT_SND_PAYLOAD_CONTENT_RSP;
    }
    else if (MQTT_SND_CMD == g_uart1Phase)
    {
      g_uart1Phase = MQTT_SND_CMD_RSP1;
    }
    else
    {
      Msg_Error("Anlyz_USART1_Rcv2 OK : %s\r\n", begin);
      NVIC_SystemReset();
    }
    Send_Mqtt_Msg_Continue();
  }
  else if (MQTT_SND_CMD_RSP2 == g_uart1Phase && 0 == strncmp((char *)begin, "+CMQTTPUB: 0,", 13))
  {
    g_sndStartTick = 0;
    int32_t retCode = -1;
    sscanf((char *)(begin + 13), "%u", &retCode);
    if (-1 != retCode)
    {
      g_uart1Phase = MQTT_SND_INIT;
      g_isMqttSending = false;
    }
    else
    {
      Msg_Error("MQTT_SND_CMD_RSP2 : %s\r\n", begin);
      NVIC_SystemReset();
    }
  }
  else
  {

    uint32_t topicLen = 0;
    uint32_t payloadLen = 0;

    switch (g_uart1RcvPhase)
    {
      case MQTT_RCV_INIT:
        if (0 != strncmp((char *)begin, RCVMSG1, strlen(RCVMSG1)))
        {
          Msg_Error("ERROR(MQTT_RCV_INIT) : %s\r\n", begin);
          NVIC_SystemReset();
          return;
        }
        g_rcvTopicLen = 0;
        g_rcvPayloadLen = 0;
        sscanf((char *)(begin + strlen(RCVMSG1)), "%u,%u", &g_rcvTopicLen, &g_rcvPayloadLen);
        if (0 == g_rcvTopicLen || 0 == g_rcvPayloadLen)
        {
          Msg_Error("ERROR(MQTT_RCV_INIT) : %s\r\n", begin);
          NVIC_SystemReset();
          return;
        }
        g_uart1RcvPhase = MQTT_RCV_SUM;
        break;
      case MQTT_RCV_SUM:
        #if 1
        if (0 != strncmp((char *)begin, RCVMSG2, strlen(RCVMSG2)))
        {
          Msg_Error("ERROR(MQTT_RCV_SUM) : %s\r\n", begin);
          NVIC_SystemReset();
          return;
        }

        sscanf((char *)(begin + strlen(RCVMSG2)), "%u", &topicLen);
        if (g_rcvTopicLen != topicLen)
        {
          Msg_Error("Error : usTopicLen = %u\r\n", topicLen);
          Msg_Error("ERROR(MQTT_RCV_SUM) : %s\r\n", begin);
          NVIC_SystemReset();
          return ;
        }
        #endif
        g_uart1RcvPhase = MQTT_RCV_TOPIC_LEN;
        break;
      case MQTT_RCV_TOPIC_LEN:
        #if 1
        if (23 != length || 0 != strncmp((char *)begin, (char *)g_simCardId, 23))
        {
          Msg_Error("ERROR(MQTT_RCV_TOPIC_LEN) : %s\r\n", begin);
          NVIC_SystemReset();
          return ;
        }
        #endif
        g_uart1RcvPhase = MQTT_RCV_TOPIC_CONTENT;
        break;
      case MQTT_RCV_TOPIC_CONTENT:
        #if 1
        if (0 != strncmp((char *)begin, RCVMSG3, strlen(RCVMSG3)))
        {
          Msg_Error("ERROR(MQTT_RCV_TOPIC_CONTENT) : %s\r\n", begin);
          NVIC_SystemReset();
          return;
        }
        sscanf((char *)(begin + strlen(RCVMSG3)), "%u", &payloadLen);
        if (payloadLen != g_rcvPayloadLen)
        {
          Msg_Error("ERROR(MQTT_RCV_TOPIC_CONTENT) : %s\r\n", begin);
          NVIC_SystemReset();
          return;
        }
        #endif
        g_uart1RcvPhase = MQTT_RCV_PAYLOAD_LEN;
        break;
      case MQTT_RCV_PAYLOAD_LEN:
        #if 1
        if (length != g_rcvPayloadLen)
        {
          Msg_Error("ERROR(MQTT_RCV_PAYLOAD_LEN) : %s\r\n", begin);
          NVIC_SystemReset();
          return;
        }

        generalCmd((uint8_t *)begin);
        //for do ,parser server data,fill cmd

         //analysis and send to uart
        #endif
        g_uart1RcvPhase = MQTT_RCV_PAYLOAD_CONTENT;
        break;
      case MQTT_RCV_PAYLOAD_CONTENT:
        #if 1
        if (0 != strncmp((char *)begin, RCVMSG4, strlen(RCVMSG4)))
        {
          Msg_Error("ERROR(MQTT_RCV_PAYLOAD_CONTENT) : %s\r\n", begin);
          NVIC_SystemReset();
          return;
        }
        #endif
        g_uart1RcvPhase = MQTT_RCV_INIT;

        //Send_Mqtt_Msg(MQTT_TOPIC_TYPE_ACTION_RSP, "action_resp", 11);
        break;
      default:
        Msg_Error("Error : default\r\n");
        NVIC_SystemReset();
        break;
    }
  }

  if (true == flag)
  {
    free(begin);
  }
  else
  {
    begin[length] = '\r';
  }
}

void parser_mqtt_msg(void)
{
  //�˴�����һ����ʱ����ֹ�ղ�����Ӧ������g_isMqttSendingһֱ��true���Ӷ��޷�������������
  if(HAL_GetTick() - g_MqttSendTimeOut > 1000)
  {
    g_isMqttSending = false;
  }

  if(g_isMqttSending)
  {
    return;
  }

  uint32_t tmpWrite = Uart2_Write;
  if ((Uart2_Read != tmpWrite) && 0 == tmpWrite%sizeof(T_Resp_Info))
  {
    T_Resp_Info resp;
    memcpy((uint8_t *)(&resp), UART2_Buffer+Uart2_Read, sizeof(T_Resp_Info));

    uint8_t crc = crc8_chk_value((uint8_t*)(&resp), 5);
    if(crc != resp.crc)
    {
      Msg_Warn("crc check error!!!! response crc = %02x, resp.crc = %02x\r\n", crc, resp.crc);
      goto next_data;
    }

    uint8_t json_resp[64];
    uint8_t topicType;

    if(generalJsonResp(&resp, &topicType, json_resp))
    {
      Send_Mqtt_Msg(topicType, json_resp, strlen((char *)json_resp));
      g_MqttSendTimeOut = HAL_GetTick();
      g_isMqttSending = true;
    }

    next_data:
    Uart2_Read += sizeof(T_Resp_Info);

    if (Uart2_Read == UART2_BUFFER_SIZE)
    {
      Uart2_Read = 0;
    }
  }
}
uint8_t Send_Mqtt_Msg(uint8_t topicType, uint8_t * payload, uint8_t length)
{
  if (MQTT_SND_INIT != g_uart1Phase)
  {
    Msg_Warn("g_uart1Phase = %d\r\n", g_uart1Phase);
    return MQTT_SEND_BUSY;
  }

  g_sndStartTick = HAL_GetTick();
  uint8_t * topic = NULL;
  switch(topicType)
  {
    case MQTT_TOPIC_TYPE_CHILD_ONLINE:
      topic = MQTT_TOPIC_CHILD_ONLINE;
      //topicContent = MQTT_TOPIC_CHILD_ONLINE_CONTENT;
      break;
    case MQTT_TOPIC_TYPE_CHILD_OFFLINE:
      topic = MQTT_TOPIC_CHILD_OFFLINE;
      //topicContent = MQTT_TOPIC_CHILD_OFFLINE_CONTENT;
      break;
    case MQTT_TOPIC_TYPE_ACTION_RSP:
      topic = MQTT_TOPIC_ACTION_RSP;
      //topicContent = MQTT_TOPIC_ACTION_RSP_CONTENT;
      break;
    case MQTT_TOPIC_TYPE_INTERRUPT_RSP:
      topic = MQTT_TOPIC_INTERRUPT_RSP;
      //topicContent = MQTT_TOPIC_INTERRUPT_RSP_CONTENT;
      break;
    default:
      return MQTT_SEND_INVALID_TOPIC_TYPE;
  }

  g_topicType = topicType;
  strncpy((char *)g_mqttSndPayload, (char *)payload, length);
  g_mqttSndPayload[length] = '\0';

  while((&huart1)->gState != HAL_UART_STATE_READY);
  strncpy((char *)DMA_TX_Buffer, (char *)topic, strlen((char *)topic));
  HAL_UART_Transmit_DMA(&huart1, DMA_TX_Buffer, strlen((char *)topic));

  return MQTT_SEND_SUCCESS;
}

static void Send_Mqtt_Msg_Continue(void)
{
  if (MQTT_SND_TOPIC_RSP == g_uart1Phase)
  {
    uint8_t * topicContent = NULL;
    switch(g_topicType)
    {
      case MQTT_TOPIC_TYPE_CHILD_ONLINE:
        topicContent = MQTT_TOPIC_CHILD_ONLINE_CONTENT;
        break;
      case MQTT_TOPIC_TYPE_CHILD_OFFLINE:
        topicContent = MQTT_TOPIC_CHILD_OFFLINE_CONTENT;
        break;
      case MQTT_TOPIC_TYPE_ACTION_RSP:
        topicContent = MQTT_TOPIC_ACTION_RSP_CONTENT;
        break;
      case MQTT_TOPIC_TYPE_INTERRUPT_RSP:
        topicContent = MQTT_TOPIC_INTERRUPT_RSP_CONTENT;
        break;
      default:
        return;
    }
    while((&huart1)->gState != HAL_UART_STATE_READY);
    strncpy((char *)DMA_TX_Buffer, (char *)topicContent, strlen((char *)topicContent));
    HAL_UART_Transmit_DMA(&huart1, DMA_TX_Buffer, strlen((char *)topicContent));
  }
  else if (MQTT_SND_TOPIC_CONTENT_RSP == g_uart1Phase)
  {
    while((&huart1)->gState != HAL_UART_STATE_READY);
    sprintf((char *)DMA_TX_Buffer, "AT+CMQTTPAYLOAD=0,%d\r\n\0", strlen((char *)g_mqttSndPayload));
    HAL_UART_Transmit_DMA(&huart1, DMA_TX_Buffer, strlen((char *)DMA_TX_Buffer));
  }
  else if (MQTT_SND_PAYLOAD_RSP == g_uart1Phase)
  {
    while((&huart1)->gState != HAL_UART_STATE_READY);
    sprintf((char *)DMA_TX_Buffer, "%s\r\n\0", g_mqttSndPayload);
    HAL_UART_Transmit_DMA(&huart1, DMA_TX_Buffer, strlen((char *)DMA_TX_Buffer));
  }
  else if (MQTT_SND_PAYLOAD_CONTENT_RSP == g_uart1Phase)
  {
    while((&huart1)->gState != HAL_UART_STATE_READY);
    strcpy((char *)DMA_TX_Buffer, PUB);
    HAL_UART_Transmit_DMA(&huart1, DMA_TX_Buffer, strlen(PUB));
  }
  else if (MQTT_SND_CMD_RSP1 == g_uart1Phase)
  {
    g_uart1Phase = MQTT_SND_CMD_RSP2;
  }
  else
  {
    Msg_Error("Send_Mqtt_Msg_Continue g_uart1Phase : %d\r\n", g_uart1Phase);
  }
}

static void Check_Timeout(void)
{
  uint32_t timeout = 0;
  switch (g_uart1Phase)
  {
    case MQTT_INIT:
      timeout = 15000;
      break;
    case MQTT_RDY:
    case MQTT_CPIN:
      timeout = 10000;
      break;
    case MQTT_SMS:
      timeout = 10000;
      break;
    case MQTT_PB:
    case MQTT_ATE0:
    case MQTT_ATE0_RSP:
    case MQTT_CCID:
    case MQTT_CCID_RSP:
    case MQTT_START:
    case MQTT_START_RSP:
    case MQTT_ACCQ:
    case MQTT_ACCQ_RSP:
    case MQTT_WILLTOPIC:
    case MQTT_WILLTOPIC_RSP:
    case MQTT_WILLTOPIC_CONTENT:
    case MQTT_WILLTOPIC_CONTENT_RSP:
    case MQTT_WILLMSG:
    case MQTT_WILLMSG_RSP:
    case MQTT_WILLMSG_CONTENT:
    case MQTT_WILLMSG_CONTENT_RSP:
      timeout = 2000;
      break;
    case MQTT_CONNECT:
    case MQTT_CONNECT_RSP:
      timeout = 10000;
      break;
    case MQTT_SUB:
    case MQTT_SUB_RSP:
      timeout = 1000;
      break;
    case MQTT_SUB_CONTENT:
    case MQTT_SUB_CONTENT_RSP:
    case MQTT_PUB_TOPIC:
    case MQTT_PUB_TOPIC_RSP:
    case MQTT_PUB_TOPIC_CONTENT:
    case MQTT_PUB_TOPIC_CONTENT_RSP:
    case MQTT_PUB_PAYLOAD:
    case MQTT_PUB_PAYLOAD_RSP:
    case MQTT_PUB_PAYLOAD_CONTENT:
    case MQTT_PUB_PAYLOAD_CONTENT_RSP:
      timeout = 1000;
      break;
    case MQTT_PUB:
      timeout = 10000;
      break;
    default:
      Msg_Error("Error Check_Timeout g_uart1Phase : %d\r\n", g_uart1Phase);
      NVIC_SystemReset();
      return ;
  }
  uint32_t now = HAL_GetTick();
  if (now - g_startTick > timeout)
  {
    Msg_Error("Timeout g_uart1Phase : %d\r\n", g_uart1Phase);
    Msg_Error("g_startTick = %d, now = %d\r\n", g_startTick, now);
    NVIC_SystemReset();
    return ;
  }
}

void HAL_UART_ErrorCallback(UART_HandleTypeDef *huart)
{
  if(huart == &huart1)
  {
    Msg_Error("HAL_UART_ErrorCallback huart1 error\n");
  }
  else if(huart == &huart2)
  {
    Msg_Error("HAL_UART_ErrorCallback huart2 error\n");
  }

  Msg_Error("HAL_UART_ErrorCallback ErrorCode = %d\r\n", huart->ErrorCode);
  NVIC_SystemReset();

}

/* USER CODE END 4 */

void _Error_Handler(char *file, int line)
{
  while(1)
  {
  }
}

/************************ (C) COPYRIGHT STMicroelectronics *****END OF FILE****/
